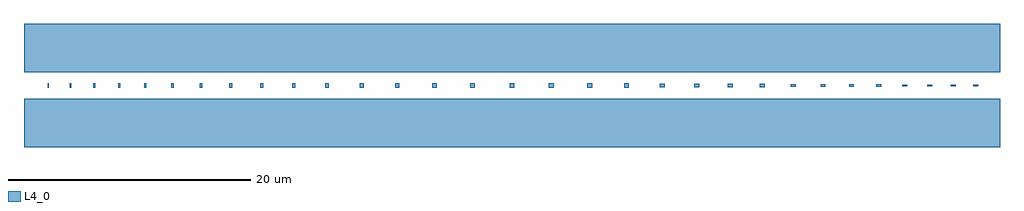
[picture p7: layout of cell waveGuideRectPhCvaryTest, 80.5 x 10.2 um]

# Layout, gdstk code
import gdstk
lib = gdstk.Library(unit=1e-6, precision=1e-09)
def R(c, l, rs):  # rectangles x0, y0, x1, y1
    for r in rs: c.add(gdstk.rectangle(r[:2], r[2:], *l))
L4_0 = (4, 0)

waveguiderectphcvarytest = lib.new_cell('waveGuideRectPhCvaryTest')
R(waveguiderectphcvarytest, L4_0, [(-44.25,1.9,36.25,5.9), (-42.3,6.8,-42.2,7.2), (-40.46,6.8,-40.34,7.2), (-38.52,6.8,-38.38,7.2), (-36.48,6.8,-36.32,7.2), (-34.34,6.8,-34.16,7.2), (-32.1,6.8,-31.9,7.2), (-29.76,6.8,-29.54,7.2), (-27.32,6.8,-27.08,7.2), (-24.78,6.8,-24.52,7.2), (-22.14,6.8,-21.86,7.2), (-19.4,6.8,-19.1,7.2), (-16.56,6.8,-16.24,7.2), (-13.62,6.8,-13.28,7.2), (-10.58,6.8,-10.22,7.2), (-7.44,6.8,-7.06,7.2), (-4.2,6.8,-3.8,7.2), (-0.95,6.81,-0.55,7.19), (2.2,6.82,2.6,7.18), (5.25,6.83,5.65,7.17), (8.2,6.84,8.6,7.16), (11.05,6.85,11.45,7.15), (13.8,6.86,14.2,7.14), (16.45,6.87,16.85,7.13), (19,6.88,19.4,7.12), (21.45,6.89,21.85,7.11), (23.8,6.9,24.2,7.1), (26.05,6.91,26.45,7.09), (28.2,6.92,28.6,7.08), (30.25,6.93,30.65,7.07), (32.2,6.94,32.6,7.06), (34.05,6.95,34.45,7.05), (-44.25,8.1,36.25,12.1)])

lib.write_gds('waveGuideRectPhCvaryTest.gds')
